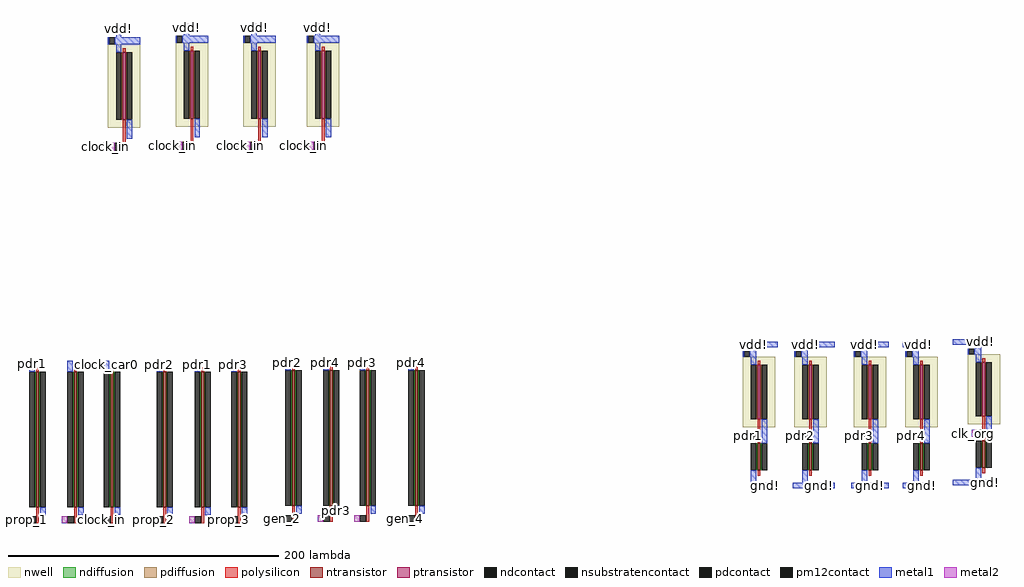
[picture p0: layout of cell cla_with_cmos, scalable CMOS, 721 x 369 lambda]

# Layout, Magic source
magic
tech scmos
<< nwell >>
rect 112 -313 136 -251
rect 162 -312 186 -250
rect 212 -312 236 -250
rect 259 -312 283 -250
rect 581 -534 605 -482
rect 619 -534 643 -482
rect 663 -534 687 -482
rect 701 -534 725 -482
rect 747 -532 771 -480
<< ntransistor >>
rect 59 -593 61 -493
rect 87 -593 89 -493
rect 114 -593 116 -493
rect 153 -593 155 -493
rect 181 -593 183 -493
rect 208 -593 210 -493
rect 248 -592 250 -492
rect 276 -592 278 -492
rect 303 -592 305 -492
rect 339 -592 341 -492
rect 592 -566 594 -546
rect 630 -566 632 -546
rect 674 -566 676 -546
rect 712 -566 714 -546
rect 758 -564 760 -544
<< ptransistor >>
rect 123 -307 125 -257
rect 173 -306 175 -256
rect 223 -306 225 -256
rect 270 -306 272 -256
rect 592 -528 594 -488
rect 630 -528 632 -488
rect 674 -528 676 -488
rect 712 -528 714 -488
rect 758 -526 760 -486
<< ndiffusion >>
rect 58 -593 59 -493
rect 61 -593 62 -493
rect 86 -593 87 -493
rect 89 -593 90 -493
rect 113 -593 114 -493
rect 116 -593 117 -493
rect 152 -593 153 -493
rect 155 -593 156 -493
rect 180 -593 181 -493
rect 183 -593 184 -493
rect 207 -593 208 -493
rect 210 -593 211 -493
rect 247 -592 248 -492
rect 250 -592 251 -492
rect 275 -592 276 -492
rect 278 -592 279 -492
rect 302 -592 303 -492
rect 305 -592 306 -492
rect 338 -592 339 -492
rect 341 -592 342 -492
rect 591 -566 592 -546
rect 594 -566 595 -546
rect 629 -566 630 -546
rect 632 -566 633 -546
rect 673 -566 674 -546
rect 676 -566 677 -546
rect 711 -566 712 -546
rect 714 -566 715 -546
rect 757 -564 758 -544
rect 760 -564 761 -544
<< pdiffusion >>
rect 122 -307 123 -257
rect 125 -307 126 -257
rect 172 -306 173 -256
rect 175 -306 176 -256
rect 222 -306 223 -256
rect 225 -306 226 -256
rect 269 -306 270 -256
rect 272 -306 273 -256
rect 591 -528 592 -488
rect 594 -528 595 -488
rect 629 -528 630 -488
rect 632 -528 633 -488
rect 673 -528 674 -488
rect 676 -528 677 -488
rect 711 -528 712 -488
rect 714 -528 715 -488
rect 757 -526 758 -486
rect 760 -526 761 -486
<< ndcontact >>
rect 54 -593 58 -493
rect 62 -593 66 -493
rect 82 -593 86 -493
rect 90 -593 94 -493
rect 109 -593 113 -493
rect 117 -593 121 -493
rect 148 -593 152 -493
rect 156 -593 160 -493
rect 176 -593 180 -493
rect 184 -593 188 -493
rect 203 -593 207 -493
rect 211 -593 215 -493
rect 243 -592 247 -492
rect 251 -592 255 -492
rect 271 -592 275 -492
rect 279 -592 283 -492
rect 298 -592 302 -492
rect 306 -592 310 -492
rect 334 -592 338 -492
rect 342 -592 346 -492
rect 587 -566 591 -546
rect 595 -566 599 -546
rect 625 -566 629 -546
rect 633 -566 637 -546
rect 669 -566 673 -546
rect 677 -566 681 -546
rect 707 -566 711 -546
rect 715 -566 719 -546
rect 753 -564 757 -544
rect 761 -564 765 -544
<< pdcontact >>
rect 118 -307 122 -257
rect 126 -307 130 -257
rect 168 -306 172 -256
rect 176 -306 180 -256
rect 218 -306 222 -256
rect 226 -306 230 -256
rect 265 -306 269 -256
rect 273 -306 277 -256
rect 587 -528 591 -488
rect 595 -528 599 -488
rect 625 -528 629 -488
rect 633 -528 637 -488
rect 669 -528 673 -488
rect 677 -528 681 -488
rect 707 -528 711 -488
rect 715 -528 719 -488
rect 753 -526 757 -486
rect 761 -526 765 -486
<< nsubstratencontact >>
rect 113 -251 117 -246
rect 163 -250 167 -245
rect 213 -250 217 -245
rect 260 -250 264 -245
rect 582 -482 586 -478
rect 620 -482 624 -478
rect 664 -482 668 -478
rect 702 -482 706 -478
rect 748 -480 752 -476
<< polysilicon >>
rect 123 -257 125 -254
rect 173 -256 175 -253
rect 223 -256 225 -253
rect 270 -256 272 -253
rect 123 -330 125 -307
rect 173 -329 175 -306
rect 223 -329 225 -306
rect 270 -329 272 -306
rect 592 -488 594 -485
rect 630 -488 632 -485
rect 674 -488 676 -485
rect 712 -488 714 -485
rect 758 -486 760 -483
rect 59 -493 61 -490
rect 87 -493 89 -490
rect 114 -493 116 -490
rect 153 -493 155 -490
rect 181 -493 183 -490
rect 208 -493 210 -490
rect 248 -492 250 -489
rect 276 -492 278 -489
rect 303 -492 305 -489
rect 339 -492 341 -489
rect 592 -546 594 -528
rect 630 -546 632 -528
rect 674 -546 676 -528
rect 712 -546 714 -528
rect 758 -544 760 -526
rect 592 -570 594 -566
rect 630 -570 632 -566
rect 674 -570 676 -566
rect 712 -570 714 -566
rect 758 -568 760 -564
rect 59 -605 61 -593
rect 87 -605 89 -593
rect 114 -605 116 -593
rect 153 -605 155 -593
rect 181 -605 183 -593
rect 208 -605 210 -593
rect 248 -604 250 -592
rect 276 -604 278 -592
rect 303 -604 305 -592
rect 339 -604 341 -592
<< metal1 >>
rect 118 -246 122 -237
rect 168 -245 172 -236
rect 218 -245 222 -236
rect 265 -245 269 -236
rect 112 -251 113 -246
rect 117 -251 136 -246
rect 162 -250 163 -245
rect 167 -250 186 -245
rect 212 -250 213 -245
rect 217 -250 236 -245
rect 259 -250 260 -245
rect 264 -250 283 -245
rect 118 -257 122 -251
rect 168 -256 172 -250
rect 218 -256 222 -250
rect 265 -256 269 -250
rect 126 -321 130 -307
rect 176 -320 180 -306
rect 226 -320 230 -306
rect 273 -320 277 -306
rect 587 -475 607 -471
rect 618 -475 649 -471
rect 661 -475 689 -471
rect 699 -475 720 -471
rect 736 -473 766 -469
rect 587 -478 591 -475
rect 625 -478 629 -475
rect 669 -478 673 -475
rect 707 -478 711 -475
rect 753 -476 757 -473
rect 581 -482 582 -478
rect 586 -482 591 -478
rect 619 -482 620 -478
rect 624 -482 629 -478
rect 663 -482 664 -478
rect 668 -482 673 -478
rect 701 -482 702 -478
rect 706 -482 711 -478
rect 747 -480 748 -476
rect 752 -480 757 -476
rect 54 -493 58 -485
rect 82 -493 86 -485
rect 109 -493 113 -485
rect 148 -493 152 -485
rect 176 -493 180 -485
rect 203 -493 207 -485
rect 243 -492 247 -484
rect 271 -492 275 -484
rect 298 -492 302 -484
rect 334 -492 338 -484
rect 587 -488 591 -482
rect 625 -488 629 -482
rect 669 -488 673 -482
rect 707 -488 711 -482
rect 753 -486 757 -480
rect 595 -546 599 -528
rect 633 -546 637 -528
rect 677 -546 681 -528
rect 715 -546 719 -528
rect 761 -544 765 -526
rect 587 -575 591 -566
rect 625 -575 629 -566
rect 669 -575 673 -566
rect 707 -575 711 -566
rect 753 -573 757 -564
rect 587 -579 607 -575
rect 618 -579 649 -575
rect 661 -579 689 -575
rect 699 -579 716 -575
rect 736 -577 762 -573
rect 62 -599 66 -593
rect 90 -599 94 -593
rect 117 -599 121 -593
rect 156 -599 160 -593
rect 184 -599 188 -593
rect 211 -599 215 -593
rect 251 -598 255 -592
rect 279 -598 283 -592
rect 306 -598 310 -592
rect 342 -598 346 -592
<< pm12contact >>
rect 117 -330 123 -324
rect 167 -329 173 -323
rect 217 -329 223 -323
rect 264 -329 270 -323
rect 587 -543 592 -538
rect 625 -543 630 -538
rect 669 -543 674 -538
rect 707 -543 712 -538
rect 753 -541 758 -536
rect 54 -605 59 -600
rect 82 -605 87 -600
rect 109 -605 114 -600
rect 148 -605 153 -600
rect 176 -605 181 -600
rect 203 -605 208 -600
rect 243 -604 248 -599
rect 271 -604 276 -599
rect 298 -604 303 -599
rect 334 -604 339 -599
<< metal2 >>
rect 107 -330 117 -324
rect 157 -329 167 -323
rect 207 -329 217 -323
rect 254 -329 264 -323
rect 584 -543 587 -538
rect 622 -543 625 -538
rect 666 -543 669 -538
rect 704 -543 707 -538
rect 750 -541 753 -536
rect 50 -605 54 -600
rect 78 -605 82 -600
rect 105 -605 109 -600
rect 144 -605 148 -600
rect 172 -605 176 -600
rect 199 -605 203 -600
rect 239 -604 243 -599
rect 267 -604 271 -599
rect 294 -604 298 -599
rect 330 -604 334 -599
<< labels >>
rlabel metal1 54 -489 58 -485 1 pdr1
rlabel metal2 50 -605 54 -600 2 prop_1
rlabel metal1 62 -599 66 -594 1 prop1_car0
rlabel metal1 82 -490 86 -485 1 prop1_car0
rlabel metal2 78 -605 82 -600 1 carry_0
rlabel metal1 90 -599 94 -594 1 clock_car0
rlabel metal1 109 -490 113 -485 1 clock_car0
rlabel metal2 105 -605 109 -600 1 clock_in
rlabel metal1 117 -599 121 -594 1 gnd!
rlabel metal1 148 -490 152 -485 1 pdr2
rlabel metal2 144 -605 148 -600 1 prop_2
rlabel metal1 156 -599 160 -594 1 pdr1
rlabel metal1 176 -490 180 -485 1 pdr1
rlabel metal2 172 -605 176 -600 1 gen_1
rlabel metal1 184 -599 188 -594 1 clock_car0
rlabel metal1 203 -490 207 -485 1 pdr3
rlabel metal2 199 -605 203 -600 1 prop_3
rlabel metal1 211 -599 215 -594 1 pdr2
rlabel metal1 243 -489 247 -484 1 pdr2
rlabel metal2 239 -604 243 -599 1 gen_2
rlabel metal1 251 -598 255 -593 1 clock_car0
rlabel metal1 271 -489 275 -484 1 pdr4
rlabel metal2 267 -604 271 -599 1 prop_4
rlabel metal1 279 -598 283 -593 1 pdr3
rlabel metal1 298 -489 302 -484 1 pdr3
rlabel metal2 294 -604 298 -599 1 gen_3
rlabel metal1 306 -598 310 -593 1 clock_car0
rlabel metal1 334 -489 338 -484 1 pdr4
rlabel metal2 330 -604 334 -599 1 gen_4
rlabel metal1 342 -598 346 -593 7 clock_car0
rlabel metal1 118 -242 122 -237 5 vdd!
rlabel metal1 168 -241 172 -236 5 vdd!
rlabel metal1 218 -241 222 -236 5 vdd!
rlabel metal1 265 -241 269 -236 5 vdd!
rlabel metal2 107 -330 113 -324 2 clock_in
rlabel metal2 157 -329 163 -323 1 clock_in
rlabel metal2 207 -329 213 -323 1 clock_in
rlabel metal2 254 -329 259 -323 1 clock_in
rlabel metal1 126 -321 130 -316 1 pdr1
rlabel metal1 176 -320 180 -316 1 pdr2
rlabel metal1 226 -320 230 -316 1 pdr3
rlabel metal1 273 -320 277 -316 1 pdr4
rlabel metal1 712 -579 716 -575 1 gnd!
rlabel metal1 708 -475 713 -471 5 vdd!
rlabel metal2 584 -543 587 -538 1 pdr1
rlabel metal2 622 -543 625 -538 1 pdr2
rlabel metal2 666 -543 669 -538 1 pdr3
rlabel metal2 704 -543 707 -538 1 pdr4
rlabel metal1 595 -543 599 -538 1 c1
rlabel metal1 633 -543 637 -538 1 c2
rlabel metal1 677 -543 681 -538 1 c3
rlabel metal1 715 -543 719 -538 1 c4
rlabel metal1 758 -577 762 -573 1 gnd!
rlabel metal1 754 -473 759 -469 5 vdd!
rlabel metal2 750 -541 753 -536 1 clk_org
rlabel metal1 761 -541 765 -536 1 clock_in
rlabel metal1 587 -475 591 -471 5 vdd!
rlabel metal1 625 -475 629 -471 5 vdd!
rlabel metal1 669 -475 673 -471 5 vdd!
rlabel metal1 673 -579 677 -575 1 gnd!
rlabel metal1 636 -579 640 -575 1 gnd!
rlabel metal1 596 -579 600 -575 1 gnd!
<< end >>
